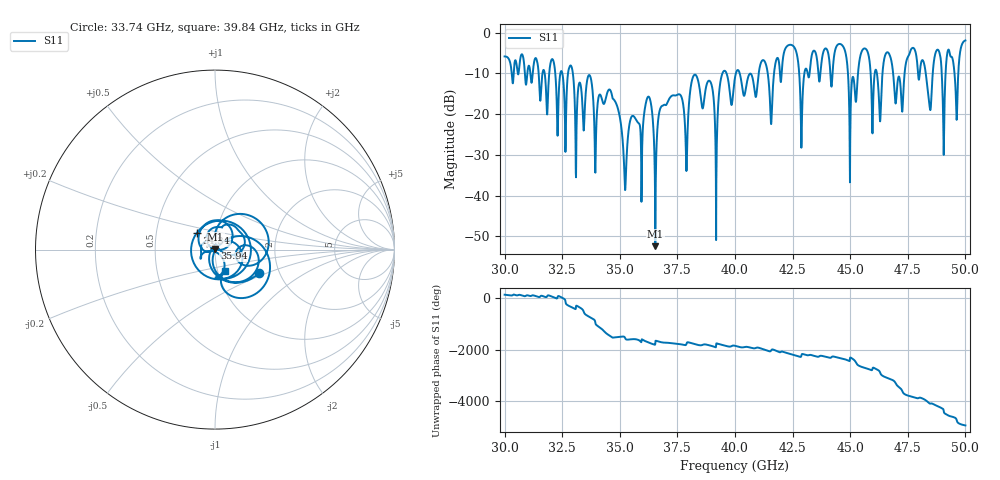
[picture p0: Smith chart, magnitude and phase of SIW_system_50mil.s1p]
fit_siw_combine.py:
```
# -*- coding: utf-8 -*-
"""
Created on Sun Jan 28 21:34:57 2018

@author: kirknie
"""

import numpy as np
import matplotlib.pyplot as plt
import snp_fct
import sys
sys.path.append('../')
import vector_fitting
import fit_z
import fit_s
import bound_fct

## import from a specific directory
#import importlib.util
#spec = importlib.util.spec_from_file_location("vectorFitting", "C:\\Users\\kirknie\\Documents\\Python\\Vector_fitting\\vectorFitting.py")
#vectorFitting = importlib.util.module_from_spec(spec)
#spec.loader.exec_module(vectorFitting)


if __name__ == '__main__':
    s1p_file = 'SIW_system_50mil.s1p'
    freq, n, z_data, s_siw, z0_data = snp_fct.read_snp(s1p_file)
    
#    freq = freq[500:1501]
#    s_siw = s_siw[500:1501]
#    z0_data = z0_data[500:1501]
#    z_data = z_data[500:1501]
    #z0 = 50
    z0 = 120
    s_data = (z_data-z0) / (z_data+z0)
    cs = freq*2j*np.pi
    s_all = np.logspace(10, 12, 1e5)*1j
    
    # Try to fit S
    #poles, residues, d, h = fit_s.fit_s(s_data, cs, n_poles=41, n_iters=20, s_dc=0, s_inf=1, pole_wt=0, bound_wt=1.2e-13)
    poles, residues, d, h = fit_s.fit_s(s_data, cs, n_poles=41, n_iters=20, s_dc=0, s_inf=1, pole_wt=0)
    fs_fit = vector_fitting.model(cs, poles, residues, d, h)
    s_zeros = vector_fitting.calculate_zeros(poles, residues, d)
    fs_fit_all = vector_fitting.model(s_all, poles, residues, d, h)
    
    bound, bw = bound_fct.bound_s(poles, residues, d, 0, f0=39e9)
    print('Bound is {:.5e}'.format(bound))
    print('BW is {:.5e}'.format(bw))
    
    bound, bw = bound_fct.bound_s(poles, residues, d, np.inf)
    print('Bound is {:.5e}'.format(bound))
    print('BW is {:.5e}'.format(bw))
    
    bound_error = bound_fct.bound_error_s(s_data, cs, poles, residues, d, np.inf)
    print('Bound error is {:.5e}'.format(bound_error))
    
    ant_integral = bound_fct.bound_integral(cs.imag, np.abs(s_data), np.inf)
    print('The inegral of the antenna is {:.5e}'.format(ant_integral))
    
    #bound_fct.plot_improved_bound(poles, residues, d, 1.2e10, 4e11)
    
    plt.figure()
    plt.plot(np.abs(cs)/2/np.pi, 20*np.log10(np.abs(s_data)), 'b-')
    plt.plot(np.abs(cs)/2/np.pi, 20*np.log10(np.abs(fs_fit)), 'r--')
    plt.plot(np.abs(cs)/2/np.pi, 20*np.log10(np.abs(fs_fit-s_data)), 'k--')
    plt.xlabel('Frequency (Hz)')
    plt.ylabel('Amplitude (dB)')
    
    plt.figure()
    plt.plot(np.abs(s_all)/2/np.pi, 20*np.log10(np.abs(fs_fit_all)), 'b-')
    plt.xlabel('Frequency (Hz)')
    plt.ylabel('Amplitude (dB)')
    
    plt.show()
    
    print('check s', max(np.abs(fs_fit_all)))
```
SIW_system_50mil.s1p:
! Touchstone file from project SIW_system_50mil
! Exported from HFSS 2017.0.0
! Variables:
!  $D1 = 1.82692307692308mm
!  $Disk_shift = 0mm
!  $G1 = 0.243589743589744mm
!  $G2 = 0.608974358974359mm
!  $S0 = 50mil
!  $S1 = 0.243589743589744mm
!  $S2 = 4.87179487179487mm
!  $SL = 1.46153846153846mm
!  $SW = 0.584615384615385mm
!  $VL = 1.82692307692308mm
!  $VW = 0.618717948717949mm
!  $W = 3.02051282051282mm
!  $W1 = 3.02051282051282mm
!  $extension_from_slot = 4.87179487179487mm
!  $length = 21.9121153846154mm
!  $new_width = 9.68025641025641mm
!  $offset = 0.5mm
!  $patch_step = 3.34935897435897mm
!  $slot_center_to_short = 5.02403846153846mm
!  $slot_side = 0.730769230769231mm
!  $slot_step = 3.34935897435897mm
!  $substrate_edge = 2.23290598290598mm
!  $width = 6.04102564102564mm
!  Hi = 0
!  L1 = 3.3mm
!  L_PD = 9.03490571543203mm
!  L_port1 = 3.55618776671408mm
!  L_port_2_3 = 1.56mm
!  R_PY1 = 0.147083926031294mm
!  W_port1 = 4.26mm
!  W_shoulder_length = 1.81858974358974mm
!  brick_dis = 0.177809388335704mm
!  brick_dist = 0.608974358974359mm
!  delay_d = 1.07mm
!  delay_t = 0.4mm
!  dpy1 = 2.25mm
!  gy_L = 27mm
!  gy_W = 3.02051282051282mm
!  gy_d = 1.11025641025641mm
!  gy_sub_width = 12.0820512820513mm
!  gy_t = 0.4mm
!  leak_gap = 5.5mm
!  sub_width_PD = 9.68025641025641mm
!  w_extra_wall_PD = 0mm
!Data is not renormalized
! Modal data exported
! Port[1] = 1:1
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# GHZ S MA
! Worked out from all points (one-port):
!   2001 points, 30 GHz to 50 GHz, reference per port
!   lowest |S11| = -52.4 dB at 36.54 GHz (marker M1), VSWR 1.00
!   |S11| at or under -10 dB: 32.96 GHz to 39.45 GHz (6.492 GHz wide, 17.9 % of centre); 40.2 GHz to 41.03 GHz (825.8 MHz wide, 2.03 % of centre); 46.86 GHz to 47.36 GHz (498 MHz wide, 1.06 % of centre)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
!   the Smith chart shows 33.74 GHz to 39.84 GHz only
!   S11 on the Smith chart (normalised r, x): 33.74 GHz: 1.56, -0.45; 34.34 GHz: 0.80, +0.15; 35.94 GHz: 0.99, +0.02; 39.84 GHz: 1.09, -0.26
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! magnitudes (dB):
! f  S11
! 30 GHz  -5.9
! 33.74 GHz  -11.2
! 34.34 GHz  -17.2
! 35.94 GHz  -41.5
! 36.26 GHz  -15.7
! 36.54 GHz  -52.4
! 36.67 GHz  -21.2
! 39.84 GHz  -17.7
! 43.34 GHz  -5.4
! 44.65 GHz  -3.1
! 45.02 GHz  -18.7
! 47.73 GHz  -3.7
! 48.45 GHz  -18.3
! 50 GHz  -1.9
